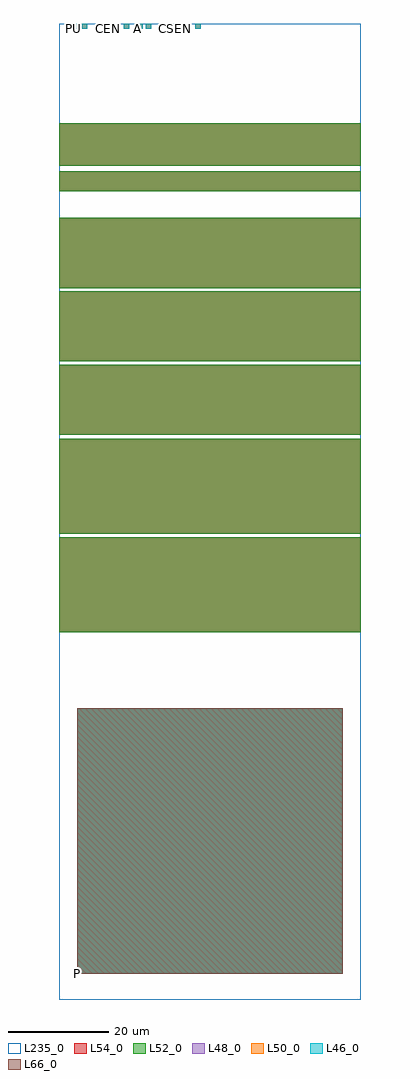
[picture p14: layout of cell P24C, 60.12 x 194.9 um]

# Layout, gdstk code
import gdstk
lib = gdstk.Library(unit=1e-6, precision=1e-09)
def R(c, l, rs):  # rectangles x0, y0, x1, y1
    for r in rs: c.add(gdstk.rectangle(r[:2], r[2:], *l))
L46_0 = (46, 0)
L48_0 = (48, 0)
L50_0 = (50, 0)
L52_0 = (52, 0)
L54_0 = (54, 0)
L66_0 = (66, 0)
L235_0 = (235, 0)

p24c = lib.new_cell('P24C')
R(p24c, L46_0, [(3.56,5.18,56.56,58.18), (2.88,193.9,3.98,194.9), (4.47,193.9,5.57,194.9), (9.81,193.9,10.91,194.9), (12.81,193.9,13.91,194.9), (15.49,193.9,16.59,194.9), (17.23,193.9,18.33,194.9), (23.08,193.9,24.18,194.9), (27.12,193.9,28.22,194.9)])
R(p24c, L48_0, [(3.56,5.18,56.56,58.18), (2.88,193.9,3.98,194.9), (4.47,193.9,5.57,194.9), (9.81,193.9,10.91,194.9), (12.81,193.9,13.91,194.9), (15.49,193.9,16.59,194.9), (17.23,193.9,18.33,194.9), (23.08,193.9,24.18,194.9), (27.12,193.9,28.22,194.9)])
R(p24c, L50_0, [(3.56,5.18,56.56,58.18), (2.88,193.9,3.98,194.9), (4.47,193.9,5.57,194.9), (9.81,193.9,10.91,194.9), (12.81,193.9,13.91,194.9), (15.49,193.9,16.59,194.9), (17.23,193.9,18.33,194.9), (23.08,193.9,24.18,194.9), (27.12,193.9,28.22,194.9)])
R(p24c, L52_0, [(3.56,5.18,56.56,58.18), (0,73.3,60.12,92.3), (0,92.99,60.12,111.99), (0,112.79,60.12,126.79), (0,127.44,60.12,141.44), (0,142.08,60.12,156.08), (0,161.39,60.12,165.39), (0,166.47,60.12,174.97)])
R(p24c, L54_0, [(3.56,5.18,56.56,58.18), (0,73.3,60.12,92.3), (0,92.99,60.12,111.99), (0,112.79,60.12,126.79), (0,127.44,60.12,141.44), (0,142.08,60.12,156.08), (0,161.39,60.12,165.39), (0,166.47,60.12,174.97)])
R(p24c, L66_0, [(3.56,5.18,56.56,58.18)])
R(p24c, L235_0, [(0,0,60.12,194.9)])
p24c.add(gdstk.Label('P', (3.56,5.18), layer=105, texttype=0))
p24c.add(gdstk.Label('P', (3.56,5.18), layer=104, texttype=0))
p24c.add(gdstk.Label('P', (3.56,5.18), layer=102, texttype=0))
p24c.add(gdstk.Label('PU', (2.88,193.9), layer=102, texttype=0))
p24c.add(gdstk.Label('PD', (4.47,193.9), layer=102, texttype=0))
p24c.add(gdstk.Label('CEN', (9.81,193.9), layer=102, texttype=0))
p24c.add(gdstk.Label('Y', (12.81,193.9), layer=102, texttype=0))
p24c.add(gdstk.Label('A', (15.49,193.9), layer=102, texttype=0))
p24c.add(gdstk.Label('ODEN', (17.23,193.9), layer=102, texttype=0))
p24c.add(gdstk.Label('CSEN', (23.08,193.9), layer=102, texttype=0))
p24c.add(gdstk.Label('OCEN', (27.12,193.9), layer=102, texttype=0))
p24c.add(gdstk.Label('P', (3.56,5.18), layer=103, texttype=0))
p24c.add(gdstk.Label('PU', (2.88,193.9), layer=103, texttype=0))
p24c.add(gdstk.Label('PD', (4.47,193.9), layer=103, texttype=0))
p24c.add(gdstk.Label('CEN', (9.81,193.9), layer=103, texttype=0))
p24c.add(gdstk.Label('Y', (12.81,193.9), layer=103, texttype=0))
p24c.add(gdstk.Label('A', (15.49,193.9), layer=103, texttype=0))
p24c.add(gdstk.Label('ODEN', (17.23,193.9), layer=103, texttype=0))
p24c.add(gdstk.Label('CSEN', (23.08,193.9), layer=103, texttype=0))
p24c.add(gdstk.Label('OCEN', (27.12,193.9), layer=103, texttype=0))
p24c.add(gdstk.Label('P', (3.56,5.18), layer=101, texttype=0))
p24c.add(gdstk.Label('PU', (2.88,193.9), layer=101, texttype=0))
p24c.add(gdstk.Label('PD', (4.47,193.9), layer=101, texttype=0))
p24c.add(gdstk.Label('CEN', (9.81,193.9), layer=101, texttype=0))
p24c.add(gdstk.Label('Y', (12.81,193.9), layer=101, texttype=0))
p24c.add(gdstk.Label('A', (15.49,193.9), layer=101, texttype=0))
p24c.add(gdstk.Label('ODEN', (17.23,193.9), layer=101, texttype=0))
p24c.add(gdstk.Label('CSEN', (23.08,193.9), layer=101, texttype=0))
p24c.add(gdstk.Label('OCEN', (27.12,193.9), layer=101, texttype=0))

lib.write_gds('P24C.gds')
